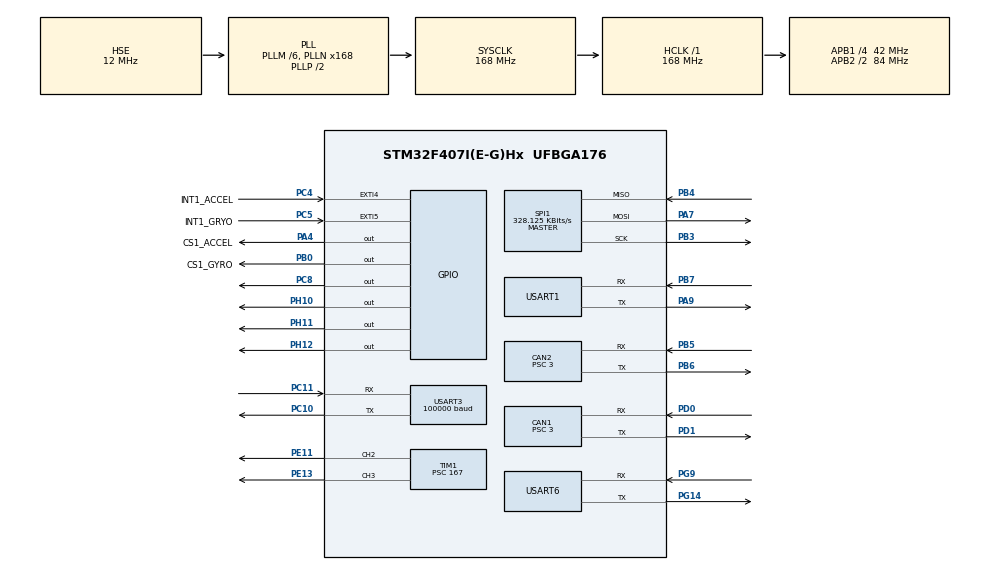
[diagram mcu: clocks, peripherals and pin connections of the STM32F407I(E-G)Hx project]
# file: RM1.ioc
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CAN1.BS1=CAN_BS1_10TQ
CAN1.BS2=CAN_BS2_3TQ
CAN1.CalculateTimeQuantum=71.42857142857143
CAN1.Prescaler=3
CAN2.BS1=CAN_BS1_10TQ
CAN2.BS2=CAN_BS2_3TQ
CAN2.CalculateTimeQuantum=71.42857142857143
CAN2.Prescaler=3
Dma.Request0=USART3_RX
Dma.Request1=USART1_RX
Dma.Request2=USART6_RX
Dma.Request3=SPI1_RX
Dma.Request4=SPI1_TX
Dma.SPI1_RX.3.Direction=DMA_PERIPH_TO_MEMORY
Dma.SPI1_RX.3.FIFOMode=DMA_FIFOMODE_DISABLE
Dma.SPI1_RX.3.Instance=DMA2_Stream0
Dma.SPI1_RX.3.MemDataAlignment=DMA_MDATAALIGN_BYTE
Dma.SPI1_RX.3.MemInc=DMA_MINC_ENABLE
Dma.SPI1_RX.3.Mode=DMA_NORMAL
Dma.SPI1_RX.3.PeriphDataAlignment=DMA_PDATAALIGN_BYTE
Dma.SPI1_RX.3.PeriphInc=DMA_PINC_DISABLE
Dma.SPI1_RX.3.Priority=DMA_PRIORITY_VERY_HIGH
Dma.SPI1_TX.4.Direction=DMA_MEMORY_TO_PERIPH
Dma.SPI1_TX.4.FIFOMode=DMA_FIFOMODE_DISABLE
Dma.SPI1_TX.4.Instance=DMA2_Stream3
Dma.SPI1_TX.4.MemDataAlignment=DMA_MDATAALIGN_BYTE
Dma.SPI1_TX.4.MemInc=DMA_MINC_ENABLE
Dma.SPI1_TX.4.Mode=DMA_NORMAL
Dma.SPI1_TX.4.PeriphDataAlignment=DMA_PDATAALIGN_BYTE
Dma.SPI1_TX.4.PeriphInc=DMA_PINC_DISABLE
Dma.SPI1_TX.4.Priority=DMA_PRIORITY_HIGH
Dma.USART1_RX.1.Direction=DMA_PERIPH_TO_MEMORY
Dma.USART1_RX.1.FIFOMode=DMA_FIFOMODE_DISABLE
Dma.USART1_RX.1.Instance=DMA2_Stream2
Dma.USART1_RX.1.MemDataAlignment=DMA_MDATAALIGN_BYTE
Dma.USART1_RX.1.MemInc=DMA_MINC_ENABLE
Dma.USART1_RX.1.Mode=DMA_NORMAL
Dma.USART1_RX.1.PeriphDataAlignment=DMA_PDATAALIGN_BYTE
Dma.USART1_RX.1.PeriphInc=DMA_PINC_DISABLE
Dma.USART1_RX.1.Priority=DMA_PRIORITY_LOW
Dma.USART3_RX.0.Direction=DMA_PERIPH_TO_MEMORY
Dma.USART3_RX.0.FIFOMode=DMA_FIFOMODE_DISABLE
Dma.USART3_RX.0.Instance=DMA1_Stream1
Dma.USART3_RX.0.MemDataAlignment=DMA_MDATAALIGN_BYTE
Dma.USART3_RX.0.MemInc=DMA_MINC_ENABLE
Dma.USART3_RX.0.Mode=DMA_NORMAL
Dma.USART3_RX.0.PeriphDataAlignment=DMA_PDATAALIGN_BYTE
Dma.USART3_RX.0.PeriphInc=DMA_PINC_DISABLE
Dma.USART3_RX.0.Priority=DMA_PRIORITY_HIGH
Dma.USART6_RX.2.Direction=DMA_PERIPH_TO_MEMORY
Dma.USART6_RX.2.FIFOMode=DMA_FIFOMODE_DISABLE
Dma.USART6_RX.2.Instance=DMA2_Stream1
Dma.USART6_RX.2.MemDataAlignment=DMA_MDATAALIGN_BYTE
Dma.USART6_RX.2.MemInc=DMA_MINC_ENABLE
Dma.USART6_RX.2.Mode=DMA_NORMAL
Dma.USART6_RX.2.PeriphDataAlignment=DMA_PDATAALIGN_BYTE
Dma.USART6_RX.2.PeriphInc=DMA_PINC_DISABLE
Dma.USART6_RX.2.Priority=DMA_PRIORITY_LOW
FREERTOS.Tasks01=defaultTask,0,128,StartDefaultTask,Default,NULL,Dynamic,NULL,NULL
Mcu.Family=STM32F4
Mcu.Name=STM32F407I(E-G)Hx
Mcu.Package=UFBGA176
NVIC.CAN1_RX0_IRQn=true\:15\:0\:true\:false\:true\:true\:true\:true
NVIC.CAN2_RX0_IRQn=true\:15\:0\:true\:false\:true\:true\:true\:true
NVIC.DMA1_Stream1_IRQn=true\:5\:0\:false\:false\:true\:true\:false\:true
NVIC.DMA2_Stream0_IRQn=true\:5\:0\:false\:false\:true\:true\:false\:true
NVIC.DMA2_Stream1_IRQn=true\:5\:0\:false\:false\:true\:true\:false\:true
NVIC.DMA2_Stream2_IRQn=true\:5\:0\:false\:false\:true\:true\:false\:true
NVIC.DMA2_Stream3_IRQn=true\:5\:0\:false\:false\:true\:true\:false\:true
NVIC.PriorityGroup=NVIC_PRIORITYGROUP_4
NVIC.TIM2_IRQn=true\:5\:0\:false\:false\:true\:true\:true\:true
NVIC.TIM8_UP_TIM13_IRQn=true\:0\:0\:false\:false\:true\:false\:false\:true
NVIC.TimeBase=TIM8_UP_TIM13_IRQn
NVIC.TimeBaseIP=TIM8
NVIC.USART1_IRQn=true\:15\:0\:true\:false\:true\:true\:true\:true
NVIC.USART3_IRQn=true\:14\:0\:true\:false\:true\:true\:true\:true
NVIC.USART6_IRQn=true\:6\:0\:true\:false\:true\:true\:true\:true
PA13.Mode=Serial_Wire
PA13.Signal=SYS_JTMS-SWDIO
PA14.Mode=Serial_Wire
PA14.Signal=SYS_JTCK-SWCLK
PA4.GPIO_Label=CS1_ACCEL
PA4.GPIO_PuPd=GPIO_PULLUP
PA4.GPIO_Speed=GPIO_SPEED_FREQ_HIGH
PA4.PinState=GPIO_PIN_SET
PA4.Signal=GPIO_Output
PA7.Mode=Full_Duplex_Master
PA7.Signal=SPI1_MOSI
PA9.Mode=Asynchronous
PA9.Signal=USART1_TX
PB0.GPIO_Label=CS1_GYRO
PB0.GPIO_PuPd=GPIO_PULLUP
PB0.GPIO_Speed=GPIO_SPEED_FREQ_HIGH
PB0.PinState=GPIO_PIN_SET
PB0.Signal=GPIO_Output
PB3.Mode=Full_Duplex_Master
PB3.Signal=SPI1_SCK
PB4.Mode=Full_Duplex_Master
PB4.Signal=SPI1_MISO
PB5.Mode=Slave
PB5.Signal=CAN2_RX
PB6.Mode=Slave
PB6.Signal=CAN2_TX
PB7.Mode=Asynchronous
PB7.Signal=USART1_RX
PC10.Mode=Asynchronous
PC10.Signal=USART3_TX
PC11.Mode=Asynchronous
PC11.Signal=USART3_RX
PC4.GPIO_Label=INT1_ACCEL
PC4.GPIO_ModeDefaultEXTI=GPIO_MODE_IT_FALLING
PC4.Signal=GPXTI4
PC5.GPIO_Label=INT1_GRYO
PC5.GPIO_ModeDefaultEXTI=GPIO_MODE_IT_FALLING
PC5.GPIO_PuPd=GPIO_PULLUP
PC5.Signal=GPXTI5
PC8.GPIO_ModeDefaultOutputPP=GPIO_MODE_OUTPUT_PP
PC8.GPIO_PuPd=GPIO_PULLUP
PC8.PinState=GPIO_PIN_SET
PC8.Signal=GPIO_Output
PD0.Mode=Master
PD0.Signal=CAN1_RX
PD1.Mode=Master
PD1.Signal=CAN1_TX
PE11.Signal=S_TIM1_CH2
PE13.Signal=S_TIM1_CH3
PG14.Mode=Asynchronous
PG14.Signal=USART6_TX
PG9.Mode=Asynchronous
PG9.Signal=USART6_RX
PH0-OSC_IN.Mode=HSE-External-Oscillator
PH0-OSC_IN.Signal=RCC_OSC_IN
PH1-OSC_OUT.Mode=HSE-External-Oscillator
PH1-OSC_OUT.Signal=RCC_OSC_OUT
PH10.GPIO_PuPd=GPIO_PULLDOWN
PH10.PinState=GPIO_PIN_RESET
PH10.Signal=GPIO_Output
PH11.GPIO_PuPd=GPIO_PULLDOWN
PH11.Signal=GPIO_Output
PH12.GPIO_PuPd=GPIO_PULLDOWN
PH12.Signal=GPIO_Output
ProjectManager.HeapSize=0x200
ProjectManager.StackSize=0x400
ProjectManager.TargetToolchain=MDK-ARM V5.27
RCC.48MHZClocksFreq_Value=84000000
RCC.AHBFreq_Value=168000000
RCC.APB1CLKDivider=RCC_HCLK_DIV4
RCC.APB1Freq_Value=42000000
RCC.APB1TimFreq_Value=84000000
RCC.APB2CLKDivider=RCC_HCLK_DIV2
RCC.APB2Freq_Value=84000000
RCC.APB2TimFreq_Value=168000000
RCC.CortexFreq_Value=168000000
RCC.HCLKFreq_Value=168000000
RCC.HSE_VALUE=12000000
RCC.HSI_VALUE=16000000
RCC.LSE_VALUE=32768
RCC.PLLM=6
RCC.PLLN=168
RCC.PLLSourceVirtual=RCC_PLLSOURCE_HSE
RCC.SYSCLKFreq_VALUE=168000000
RCC.SYSCLKSource=RCC_SYSCLKSOURCE_PLLCLK
RCC.VCOOutputFreq_Value=336000000
SH.S_TIM1_CH2.0=TIM1_CH2,PWM Generation2 CH2
SH.S_TIM1_CH3.0=TIM1_CH3,PWM Generation3 CH3
SPI1.BaudRatePrescaler=SPI_BAUDRATEPRESCALER_256
SPI1.CLKPhase=SPI_PHASE_2EDGE
SPI1.CLKPolarity=SPI_POLARITY_HIGH
SPI1.CalculateBaudRate=328.125 KBits/s
SPI1.Direction=SPI_DIRECTION_2LINES
SPI1.Mode=SPI_MODE_MASTER
SPI1.VirtualType=VM_MASTER
TIM1.Channel-PWM\ Generation2\ CH2=TIM_CHANNEL_2
TIM1.Channel-PWM\ Generation3\ CH3=TIM_CHANNEL_3
TIM1.Period=5999
TIM1.Prescaler=167
TIM2.Period=2999
TIM2.Prescaler=167
USART1.VirtualMode=VM_ASYNC
USART3.BaudRate=100000
USART3.VirtualMode=VM_ASYNC
USART6.VirtualMode=VM_ASYNC
VP_FREERTOS_VS_CMSIS_V1.Mode=CMSIS_V1
VP_SYS_VS_tim8.Mode=TIM8
VP_TIM2_VS_ClockSourceINT.Mode=Internal
board=custom

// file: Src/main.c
/* USER CODE BEGIN Header */
/**
  ******************************************************************************
  * @file           : main.c
  * @brief          : Main program body
  ******************************************************************************
  * @attention
  *
  * <h2><center>&copy; Copyright (c) 2020 STMicroelectronics.
  * All rights reserved.</center></h2>
  *
  * This software component is licensed by ST under Ultimate Liberty license
  * SLA0044, the "License"; You may not use this file except in compliance with
  * the License. You may obtain a copy of the License at:
  *                             www.st.com/SLA0044
  *
  ******************************************************************************
  */
/* USER CODE END Header */

#include "main.h"
#include "cmsis_os.h"
#include "can.h"
#include "dma.h"
#include "spi.h"
#include "tim.h"
#include "usart.h"
#include "gpio.h"

/* USER CODE BEGIN Includes */
#include "BspUsart.h"
#include "BspCan.h"
#include "stdio.h"
#include "Holder.h"
/* USER CODE END Includes */

/* USER CODE BEGIN PTD */
extern uint8_t UART_Buffer[100];
extern uint8_t UART1_temp[10];
/* USER CODE END PTD */

void SystemClock_Config(void);
void MX_FREERTOS_Init(void);

/* USER CODE BEGIN 0 */

int fputc(int ch, FILE *f)
{
  HAL_UART_Transmit(&huart1, (uint8_t *)&ch, 1, 0xffff);
  return ch;
}

/* USER CODE END 0 */

int main(void)
{

  /* MCU Configuration--------------------------------------------------------*/

  /* Reset of all peripherals, Initializes the Flash interface and the Systick. */
  HAL_Init();

  /* Configure the system clock */
  SystemClock_Config();

  /* Initialize all configured peripherals */
  MX_GPIO_Init();
  MX_DMA_Init();
  MX_USART1_UART_Init();
  MX_USART3_UART_Init();
  MX_USART6_UART_Init();
  MX_CAN1_Init();
  MX_CAN2_Init();
  MX_TIM1_Init();
  MX_TIM2_Init();
  MX_SPI1_Init();
  /* USER CODE BEGIN 2 */
	HAL_UART_Receive_IT_IDLE(&huart1,(uint8_t *)UART1_temp,5);
	HAL_UART_Receive_IT_IDLE(&huart3,UART_Buffer,100);
	can_user_init();
  /* USER CODE END 2 */

  /* Call init function for freertos objects (in freertos.c) */
  MX_FREERTOS_Init();
  /* Start scheduler */
  osKernelStart();

  /* We should never get here as control is now taken by the scheduler */
  /* Infinite loop */
  while (1)
  {

  }
}

void SystemClock_Config(void)
{
  RCC_OscInitTypeDef RCC_OscInitStruct = {0};
  RCC_ClkInitTypeDef RCC_ClkInitStruct = {0};

  /** Configure the main internal regulator output voltage
  */
  __HAL_RCC_PWR_CLK_ENABLE();
  __HAL_PWR_VOLTAGESCALING_CONFIG(PWR_REGULATOR_VOLTAGE_SCALE1);
  /** Initializes the CPU, AHB and APB busses clocks
  */
  RCC_OscInitStruct.OscillatorType = RCC_OSCILLATORTYPE_HSE;
  RCC_OscInitStruct.HSEState = RCC_HSE_ON;
  RCC_OscInitStruct.PLL.PLLState = RCC_PLL_ON;
  RCC_OscInitStruct.PLL.PLLSource = RCC_PLLSOURCE_HSE;
  RCC_OscInitStruct.PLL.PLLM = 6;
  RCC_OscInitStruct.PLL.PLLN = 168;
  RCC_OscInitStruct.PLL.PLLP = RCC_PLLP_DIV2;
  RCC_OscInitStruct.PLL.PLLQ = 4;
  if (HAL_RCC_OscConfig(&RCC_OscInitStruct) != HAL_OK)
  {
    Error_Handler();
  }
  /** Initializes the CPU, AHB and APB busses clocks
  */
  RCC_ClkInitStruct.ClockType = RCC_CLOCKTYPE_HCLK|RCC_CLOCKTYPE_SYSCLK
                              |RCC_CLOCKTYPE_PCLK1|RCC_CLOCKTYPE_PCLK2;
  RCC_ClkInitStruct.SYSCLKSource = RCC_SYSCLKSOURCE_PLLCLK;
  RCC_ClkInitStruct.AHBCLKDivider = RCC_SYSCLK_DIV1;
  RCC_ClkInitStruct.APB1CLKDivider = RCC_HCLK_DIV4;
  RCC_ClkInitStruct.APB2CLKDivider = RCC_HCLK_DIV2;

  if (HAL_RCC_ClockConfig(&RCC_ClkInitStruct, FLASH_LATENCY_5) != HAL_OK)
  {
    Error_Handler();
  }
}

 /**
  * @brief  Period elapsed callback in non blocking mode
  * @note   This function is called  when TIM8 interrupt took place, inside
  * HAL_TIM_IRQHandler(). It makes a direct call to HAL_IncTick() to increment
  * a global variable "uwTick" used as application time base.
  * @param  htim : TIM handle
  * @retval None
  */
void HAL_TIM_PeriodElapsedCallback(TIM_HandleTypeDef *htim)
{
  if (htim->Instance == TIM8) {
    HAL_IncTick();
  }
}

void Error_Handler(void)
{
}

/************************ (C) COPYRIGHT STMicroelectronics *****END OF FILE****/

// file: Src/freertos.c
/* USER CODE BEGIN Header */
/**
  ******************************************************************************
  * File Name          : freertos.c
  * Description        : Code for freertos applications
  ******************************************************************************
  * @attention
  *
  * <h2><center>&copy; Copyright (c) 2020 STMicroelectronics.
  * All rights reserved.</center></h2>
  *
  * This software component is licensed by ST under Ultimate Liberty license
  * SLA0044, the "License"; You may not use this file except in compliance with
  * the License. You may obtain a copy of the License at:
  *                             www.st.com/SLA0044
  *
  ******************************************************************************
  */
/* USER CODE END Header */

#include "FreeRTOS.h"
#include "task.h"
#include "main.h"
#include "cmsis_os.h"

/* USER CODE BEGIN Includes */
#include "LED.h"
#include "Chassis.h"
#include "Holder.h"
#include "Shoot.h"
/* USER CODE END Includes */

/* USER CODE BEGIN PTD */
osThreadId LEDTastHandle;
osThreadId ChassisTastHandle;
osThreadId HolderTastHandle;
osThreadId ShootTastHandle;
/* USER CODE END PTD */

osThreadId defaultTaskHandle;

void StartDefaultTask(void const * argument);

void MX_FREERTOS_Init(void); /* (MISRA C 2004 rule 8.1) */

/* GetIdleTaskMemory prototype (linked to static allocation support) */
void vApplicationGetIdleTaskMemory( StaticTask_t **ppxIdleTaskTCBBuffer, StackType_t **ppxIdleTaskStackBuffer, uint32_t *pulIdleTaskStackSize );

/* USER CODE BEGIN GET_IDLE_TASK_MEMORY */
static StaticTask_t xIdleTaskTCBBuffer;
static StackType_t xIdleStack[configMINIMAL_STACK_SIZE];

void vApplicationGetIdleTaskMemory( StaticTask_t **ppxIdleTaskTCBBuffer, StackType_t **ppxIdleTaskStackBuffer, uint32_t *pulIdleTaskStackSize )
{
  *ppxIdleTaskTCBBuffer = &xIdleTaskTCBBuffer;
  *ppxIdleTaskStackBuffer = &xIdleStack[0];
  *pulIdleTaskStackSize = configMINIMAL_STACK_SIZE;
  /* place for user code */
}
/* USER CODE END GET_IDLE_TASK_MEMORY */

void MX_FREERTOS_Init(void) {

  /* Create the thread(s) */
  /* definition and creation of defaultTask */
  osThreadDef(defaultTask, StartDefaultTask, osPriorityNormal, 0, 128);
  defaultTaskHandle = osThreadCreate(osThread(defaultTask), NULL);

  /* USER CODE BEGIN RTOS_THREADS */
  /* add threads, ... */

	  osThreadDef(led, LedTask, osPriorityNormal, 0, 32);
    LEDTastHandle = osThreadCreate(osThread(led), NULL);

		osThreadDef(chassis, ChassisTask, osPriorityNormal, 0, 512);
    ChassisTastHandle = osThreadCreate(osThread(chassis), NULL);

		osThreadDef(holder, HolderTask, osPriorityRealtime, 0, 512);
    HolderTastHandle = osThreadCreate(osThread(holder), NULL);

		osThreadDef(shoot, ShootTask, osPriorityHigh, 0, 512);
    ShootTastHandle = osThreadCreate(osThread(shoot), NULL);

  /* USER CODE END RTOS_THREADS */

}

void StartDefaultTask(void const * argument)
{
  for(;;)
  {
    osDelay(1);
  }
}

/************************ (C) COPYRIGHT STMicroelectronics *****END OF FILE****/
